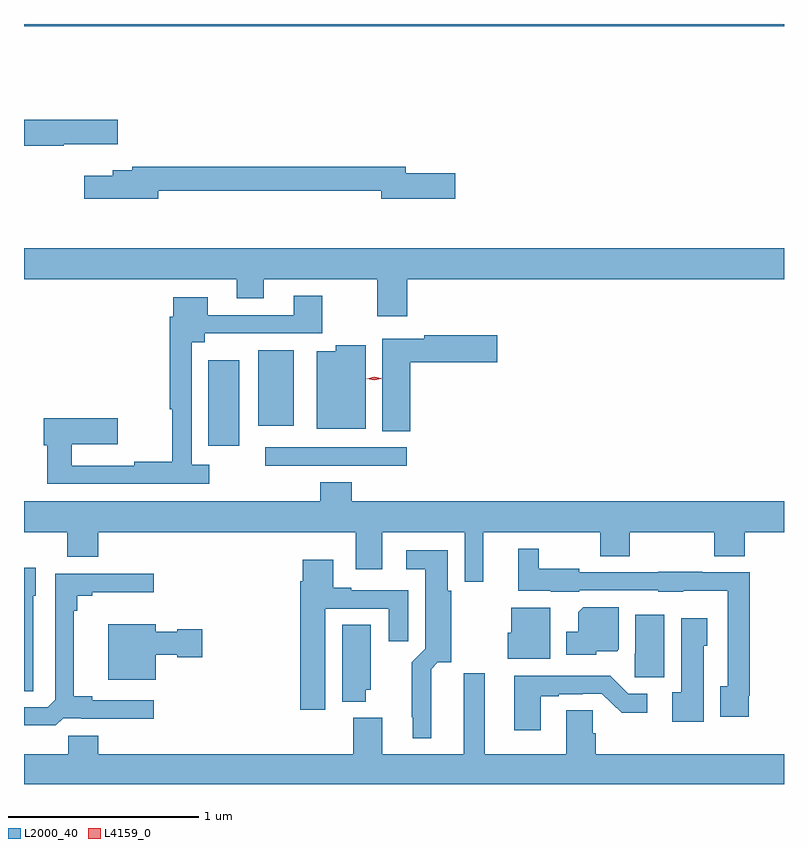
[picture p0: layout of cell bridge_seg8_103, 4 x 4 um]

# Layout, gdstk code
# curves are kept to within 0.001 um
import gdstk
lib = gdstk.Library(unit=1e-6, precision=1e-09)
def R(c, l, rs):  # rectangles x0, y0, x1, y1
    for r in rs: c.add(gdstk.rectangle(r[:2], r[2:], *l))
def P(c, l, *ps):  # polygons
    for p in ps: c.add(gdstk.Polygon(p, *l))
L2000_40 = (2000, 40)
L4159_0 = (4159, 0)

bridge_seg8_103 = lib.new_cell('bridge_seg8_103')
R(bridge_seg8_103, L2000_40, [(756.141,1152.816,756.886,1152.912), (755.843,1152.921,756.004,1153.369), (756.104,1153.025,756.292,1153.423), (754.872,1155.128,758.872,1155.14)])
P(bridge_seg8_103, L2000_40, [(755.08,1154.507),(755.365,1154.507),(755.365,1154.637),(754.98,1154.637),(754.98,1154.636),(754.872,1154.636),(754.872,1154.5),(755.08,1154.5)],
  [(755.578,1154.262),(756.752,1154.262),(756.752,1154.219),(757.141,1154.219),(757.141,1154.354),(756.88,1154.354),(756.88,1154.39),(755.443,1154.39),(755.443,1154.371),(755.339,1154.371),(755.339,1154.341),(755.19,1154.341),(755.19,1154.219),(755.578,1154.219)],
  [(756.89,1153.796),(758.872,1153.796),(758.872,1153.96),(754.872,1153.96),(754.872,1153.796),(755.993,1153.796),(755.993,1153.697),(756.133,1153.697),(756.133,1153.796),(756.73,1153.796),(756.73,1153.602),(756.89,1153.602)],
  [(755.848,1152.82),(755.754,1152.82),(755.754,1153.466),(755.824,1153.466),(755.824,1153.512),(756.441,1153.512),(756.441,1153.711),(756.293,1153.711),(756.293,1153.608),(755.839,1153.608),(755.839,1153.702),(755.657,1153.702),(755.657,1153.598),(755.638,1153.598),(755.638,1153.113),(755.653,1153.113),(755.653,1152.836),(755.452,1152.836),(755.452,1152.816),(755.123,1152.816),(755.123,1152.929),(755.365,1152.929),(755.365,1153.064),(754.976,1153.064),(754.976,1152.922),(754.995,1152.922),(754.995,1152.72),(755.848,1152.72)],
  [(756.905,1153.361),(757.363,1153.361),(757.363,1153.503),(756.978,1153.503),(756.978,1153.483),(756.758,1153.483),(756.758,1152.997),(756.905,1152.997)],
  [(756.67,1153.45),(756.512,1153.45),(756.512,1153.417),(756.413,1153.417),(756.413,1153.01),(756.67,1153.01)],
  [(757.289,1152.464),(757.906,1152.464),(757.906,1152.34),(758.061,1152.34),(758.061,1152.464),(758.506,1152.464),(758.506,1152.34),(758.666,1152.34),(758.666,1152.464),(758.872,1152.464),(758.872,1152.628),(756.596,1152.628),(756.596,1152.727),(756.431,1152.727),(756.431,1152.628),(754.872,1152.628),(754.872,1152.464),(755.099,1152.464),(755.099,1152.336),(755.263,1152.336),(755.263,1152.464),(756.617,1152.464),(756.617,1152.27),(756.757,1152.27),(756.757,1152.464),(757.191,1152.464),(757.191,1152.204),(757.289,1152.204)],
  [(758.686,1151.605),(758.693,1151.605),(758.693,1152.255),(758.443,1152.255),(758.443,1152.257),(758.211,1152.257),(758.211,1152.255),(757.794,1152.255),(757.794,1152.274),(757.582,1152.274),(757.582,1152.379),(757.472,1152.379),(757.472,1152.158),(757.644,1152.158),(757.644,1152.152),(757.794,1152.152),(757.794,1152.159),(758.211,1152.159),(758.211,1152.152),(758.343,1152.152),(758.343,1152.158),(758.577,1152.158),(758.577,1151.654),(758.537,1151.654),(758.537,1151.493),(758.686,1151.493)],
  [(757.015,1151.744),(757.05,1151.78),(757.12,1151.78),(757.12,1152.156),(757.102,1152.156),(757.102,1152.37),(756.885,1152.37),(756.885,1152.269),(756.983,1152.269),(756.983,1151.852),(756.913,1151.782),(756.913,1151.491),(756.917,1151.491),(756.917,1151.381),(757.015,1151.381)],
  [(756.457,1152.063),(756.791,1152.063),(756.791,1151.892),(756.895,1151.892),(756.895,1152.159),(756.595,1152.159),(756.595,1152.172),(756.499,1152.172),(756.499,1152.319),(756.338,1152.319),(756.338,1152.206),(756.326,1152.206),(756.326,1151.532),(756.457,1151.532)],
  [(754.92,1152.132),(754.933,1152.132),(754.933,1152.277),(754.872,1152.277),(754.872,1151.629),(754.92,1151.629)],
  [(755.079,1151.487),(755.173,1151.487),(755.173,1151.483),(755.554,1151.483),(755.554,1151.58),(755.23,1151.58),(755.23,1151.603),(755.135,1151.603),(755.135,1152.053),(755.153,1152.053),(755.153,1152.13),(755.23,1152.13),(755.23,1152.149),(755.554,1152.149),(755.554,1152.246),(755.037,1152.246),(755.037,1151.583),(754.998,1151.544),(754.872,1151.544),(754.872,1151.448),(755.039,1151.448)],
  [(757.884,1151.84),(757.994,1151.84),(758.002,1151.848),(758.002,1152.07),(757.816,1152.07),(757.79,1152.044),(757.79,1151.941),(757.727,1151.941),(757.727,1151.819),(757.884,1151.819)],
  [(757.642,1152.068),(757.436,1152.068),(757.436,1151.937),(757.418,1151.937),(757.418,1151.798),(757.642,1151.798)],
  [(758.242,1152.031),(758.09,1152.031),(758.09,1151.826),(758.086,1151.826),(758.086,1151.703),(758.242,1151.703)],
  [(758.449,1151.868),(758.467,1151.868),(758.467,1152.013),(758.33,1152.013),(758.33,1151.622),(758.285,1151.622),(758.285,1151.468),(758.449,1151.468)],
  [(755.566,1151.819),(755.679,1151.819),(755.679,1151.807),(755.809,1151.807),(755.809,1151.954),(755.679,1151.954),(755.679,1151.941),(755.566,1151.941),(755.566,1151.98),(755.315,1151.98),(755.315,1151.69),(755.566,1151.69)],
  [(756.67,1151.637),(756.697,1151.637),(756.697,1151.978),(756.548,1151.978),(756.548,1151.573),(756.67,1151.573)],
  [(758.872,1151.296),(757.88,1151.296),(757.88,1151.406),(757.866,1151.406),(757.866,1151.528),(757.727,1151.528),(757.727,1151.296),(757.297,1151.296),(757.297,1151.722),(757.187,1151.722),(757.187,1151.296),(756.757,1151.296),(756.757,1151.488),(756.605,1151.488),(756.605,1151.296),(755.264,1151.296),(755.264,1151.394),(755.104,1151.394),(755.104,1151.296),(754.872,1151.296),(754.872,1151.14),(758.872,1151.14)],
  [(757.591,1151.601),(757.687,1151.601),(757.687,1151.613),(757.814,1151.613),(757.814,1151.616),(757.914,1151.616),(758.017,1151.514),(758.152,1151.514),(758.152,1151.616),(758.052,1151.616),(757.958,1151.71),(757.451,1151.709),(757.451,1151.424),(757.591,1151.424)])
P(bridge_seg8_103, L4159_0, [(756.715,1153.264),(756.677,1153.273),(756.677,1153.273),(756.677,1153.274),(756.715,1153.284),(756.753,1153.275),(756.753,1153.274),(756.753,1153.274)])

lib.write_gds('bridge_seg8_103.gds')
